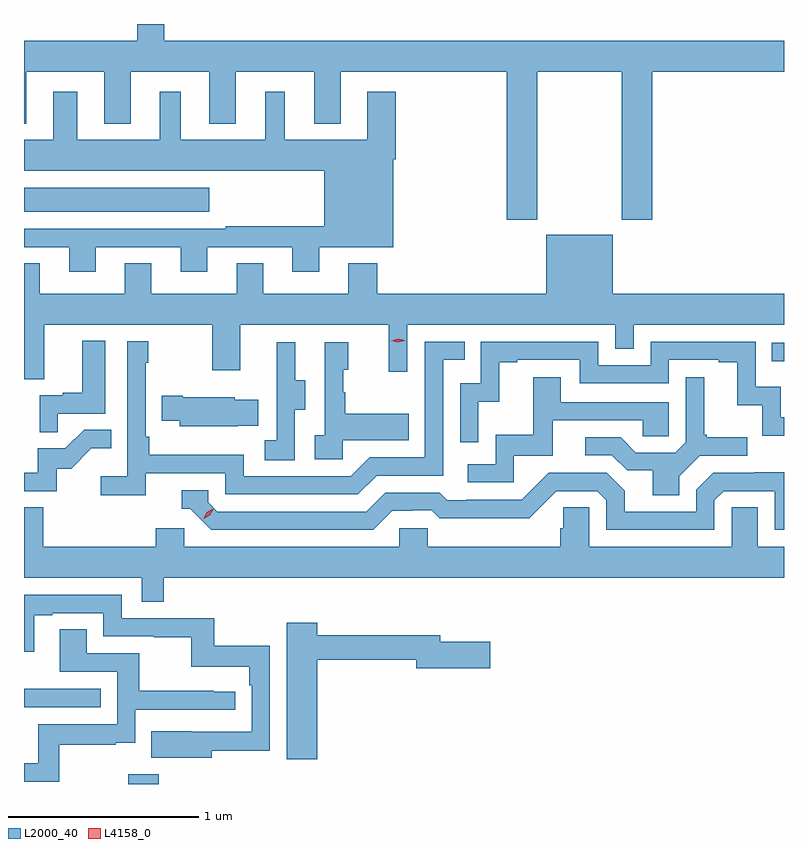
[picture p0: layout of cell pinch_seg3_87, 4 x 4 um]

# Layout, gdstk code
import gdstk
lib = gdstk.Library(unit=1e-6, precision=1e-09)
def R(c, l, rs):  # rectangles x0, y0, x1, y1
    for r in rs: c.add(gdstk.rectangle(r[:2], r[2:], *l))
def P(c, l, *ps):  # polygons
    for p in ps: c.add(gdstk.Polygon(p, *l))
L2000_40 = (2000, 40)
L4158_0 = (4158, 0)

pinch_seg3_87 = lib.new_cell('pinch_seg3_87')
R(pinch_seg3_87, L2000_40, [(1045.39,723.807,1045.55,723.859), (1044.842,724.212,1045.247,724.308), (1048.777,726.032,1048.842,726.129), (1044.842,726.818,1045.816,726.946)])
P(pinch_seg3_87, L2000_40, [(1045.579,727.807),(1045.439,727.807),(1045.439,727.72),(1044.842,727.72),(1044.842,727.283),(1044.853,727.283),(1044.853,727.556),(1045.265,727.556),(1045.265,727.283),(1045.405,727.283),(1045.405,727.556),(1045.817,727.556),(1045.817,727.283),(1045.957,727.283),(1045.957,727.556),(1046.369,727.556),(1046.369,727.283),(1046.509,727.283),(1046.509,727.556),(1047.383,727.556),(1047.383,726.777),(1047.543,726.777),(1047.543,727.556),(1047.988,727.556),(1047.988,726.777),(1048.148,726.777),(1048.148,727.556),(1048.842,727.556),(1048.842,727.72),(1045.579,727.72)],
  [(1045.219,726.633),(1045.667,726.633),(1045.667,726.504),(1045.807,726.504),(1045.807,726.633),(1046.255,726.633),(1046.255,726.504),(1046.395,726.504),(1046.395,726.632),(1046.785,726.632),(1046.785,727.094),(1046.798,727.094),(1046.798,727.45),(1046.648,727.45),(1046.648,727.198),(1046.215,727.198),(1046.215,727.45),(1046.111,727.45),(1046.111,727.198),(1045.666,727.198),(1045.666,727.45),(1045.556,727.45),(1045.556,727.198),(1045.123,727.198),(1045.123,727.45),(1044.995,727.45),(1044.995,727.198),(1044.842,727.198),(1044.842,727.034),(1046.423,727.034),(1046.423,726.742),(1045.903,726.742),(1045.903,726.729),(1044.842,726.729),(1044.842,726.633),(1045.079,726.633),(1045.079,726.504),(1045.219,726.504)],
  [(1044.949,726.224),(1045.834,726.224),(1045.834,725.985),(1045.981,725.985),(1045.981,726.224),(1046.762,726.224),(1046.762,725.976),(1046.859,725.976),(1046.859,726.224),(1047.954,726.224),(1047.954,726.097),(1048.05,726.097),(1048.05,726.224),(1048.842,726.224),(1048.842,726.388),(1047.94,726.388),(1047.94,726.697),(1047.59,726.697),(1047.59,726.388),(1046.702,726.388),(1046.702,726.547),(1046.549,726.547),(1046.549,726.388),(1046.101,726.388),(1046.101,726.548),(1045.961,726.548),(1045.961,726.388),(1045.513,726.388),(1045.513,726.548),(1045.373,726.548),(1045.373,726.388),(1044.925,726.388),(1044.925,726.548),(1044.842,726.548),(1044.842,725.938),(1044.949,725.938)],
  [(1045.019,725.757),(1045.27,725.757),(1045.27,726.139),(1045.148,726.139),(1045.148,725.866),(1045.045,725.866),(1045.045,725.853),(1044.924,725.853),(1044.924,725.659),(1045.019,725.659)],
  [(1045.484,725.442),(1045.902,725.442),(1045.902,725.331),(1046.599,725.331),(1046.698,725.43),(1047.048,725.43),(1047.048,726.039),(1047.161,726.039),(1047.161,726.135),(1046.952,726.135),(1046.952,725.526),(1046.661,725.526),(1046.562,725.427),(1045.998,725.427),(1045.998,725.539),(1045.502,725.539),(1045.502,725.635),(1045.482,725.635),(1045.482,726.023),(1045.495,726.023),(1045.495,726.136),(1045.386,726.136),(1045.386,725.428),(1045.245,725.428),(1045.245,725.326),(1045.484,725.326)],
  [(1047.234,725.819),(1047.344,725.819),(1047.344,726.027),(1047.439,726.027),(1047.439,726.039),(1047.768,726.039),(1047.768,725.916),(1048.236,725.916),(1048.236,726.039),(1048.499,726.039),(1048.499,726.027),(1048.595,726.027),(1048.595,725.801),(1048.728,725.801),(1048.728,725.64),(1048.842,725.64),(1048.842,725.736),(1048.824,725.736),(1048.824,725.899),(1048.692,725.899),(1048.692,726.135),(1048.14,726.135),(1048.14,726.012),(1047.864,726.012),(1047.864,726.135),(1047.246,726.135),(1047.246,725.916),(1047.138,725.916),(1047.138,725.607),(1047.234,725.607)],
  [(1046.52,725.615),(1046.867,725.615),(1046.867,725.755),(1046.533,725.755),(1046.533,725.87),(1046.523,725.87),(1046.523,725.988),(1046.548,725.988),(1046.548,726.133),(1046.424,726.133),(1046.424,725.642),(1046.373,725.642),(1046.373,725.517),(1046.52,725.517)],
  [(1046.268,725.776),(1046.323,725.776),(1046.323,725.931),(1046.269,725.931),(1046.269,726.133),(1046.171,726.133),(1046.171,725.919),(1046.172,725.919),(1046.172,725.615),(1046.109,725.615),(1046.109,725.512),(1046.268,725.512)],
  [(1048.291,725.428),(1048.398,725.535),(1048.648,725.535),(1048.648,725.632),(1048.435,725.632),(1048.435,725.644),(1048.423,725.644),(1048.423,725.947),(1048.326,725.947),(1048.326,725.607),(1048.269,725.55),(1048.063,725.55),(1047.982,725.631),(1047.795,725.631),(1047.795,725.538),(1047.936,725.538),(1048.016,725.458),(1048.151,725.458),(1048.151,725.326),(1048.291,725.326)],
  [(1047.42,725.535),(1047.625,725.535),(1047.625,725.721),(1048.099,725.721),(1048.099,725.637),(1048.236,725.637),(1048.236,725.817),(1047.667,725.817),(1047.667,725.947),(1047.523,725.947),(1047.523,725.644),(1047.324,725.644),(1047.324,725.49),(1047.177,725.49),(1047.177,725.394),(1047.42,725.394)],
  [(1045.967,725.693),(1046.075,725.693),(1046.075,725.83),(1045.95,725.83),(1045.95,725.842),(1045.678,725.842),(1045.678,725.85),(1045.567,725.85),(1045.567,725.72),(1045.661,725.72),(1045.661,725.69),(1045.967,725.69)],
  [(1045.014,725.466),(1045.09,725.466),(1045.197,725.573),(1045.301,725.573),(1045.301,725.672),(1045.158,725.672),(1045.06,725.574),(1044.915,725.574),(1044.915,725.445),(1044.842,725.445),(1044.842,725.349),(1045.014,725.349)],
  [(1046.779,725.244),(1046.886,725.244),(1046.886,725.247),(1046.989,725.247),(1047.031,725.205),(1047.264,725.205),(1047.264,725.207),(1047.5,725.207),(1047.642,725.349),(1047.858,725.349),(1047.906,725.301),(1047.906,725.145),(1048.476,725.145),(1048.476,725.301),(1048.524,725.349),(1048.794,725.349),(1048.794,725.145),(1048.842,725.145),(1048.842,725.447),(1048.686,725.447),(1048.686,725.445),(1048.47,725.445),(1048.38,725.355),(1048.38,725.241),(1048.003,725.241),(1048.003,725.351),(1047.909,725.445),(1047.603,725.445),(1047.462,725.304),(1047.169,725.304),(1047.169,725.301),(1047.07,725.301),(1047.031,725.34),(1046.742,725.34),(1046.643,725.241),(1045.86,725.241),(1045.812,725.289),(1045.812,725.352),(1045.673,725.352),(1045.673,725.256),(1045.716,725.256),(1045.827,725.145),(1046.68,725.145)],
  [(1045.577,724.892),(1048.842,724.892),(1048.842,725.056),(1048.705,725.056),(1048.705,725.264),(1048.566,725.264),(1048.566,725.056),(1047.816,725.056),(1047.816,725.264),(1047.679,725.264),(1047.679,725.154),(1047.665,725.154),(1047.665,725.056),(1046.967,725.056),(1046.967,725.154),(1046.817,725.154),(1046.817,725.056),(1045.686,725.056),(1045.686,725.154),(1045.535,725.154),(1045.535,725.056),(1044.944,725.056),(1044.944,725.264),(1044.842,725.264),(1044.842,724.892),(1045.461,724.892),(1045.461,724.765),(1045.577,724.765)],
  [(1045.831,723.982),(1046.136,723.982),(1046.136,724.534),(1045.843,724.534),(1045.843,724.68),(1045.356,724.68),(1045.356,724.803),(1044.842,724.803),(1044.842,724.502),(1044.895,724.502),(1044.895,724.695),(1044.991,724.695),(1044.991,724.707),(1045.26,724.707),(1045.26,724.584),(1045.525,724.584),(1045.525,724.579),(1045.722,724.579),(1045.722,724.424),(1046.027,724.424),(1046.027,724.328),(1046.04,724.328),(1046.04,724.083),(1045.727,724.083),(1045.727,724.084),(1045.513,724.084),(1045.513,723.944),(1045.831,723.944)],
  [(1046.386,724.462),(1046.906,724.462),(1046.906,724.415),(1047.295,724.415),(1047.295,724.557),(1047.034,724.557),(1047.034,724.591),(1046.386,724.591),(1046.386,724.657),(1046.225,724.657),(1046.225,723.936),(1046.386,723.936)],
  [(1045.027,724.014),(1045.325,724.014),(1045.325,724.025),(1045.428,724.025),(1045.428,724.197),(1045.954,724.197),(1045.954,724.293),(1045.841,724.293),(1045.841,724.298),(1045.448,724.298),(1045.448,724.494),(1045.171,724.494),(1045.171,724.622),(1045.031,724.622),(1045.031,724.398),(1045.332,724.398),(1045.332,724.122),(1044.916,724.122),(1044.916,723.916),(1044.842,723.916),(1044.842,723.819),(1045.027,723.819)])
P(pinch_seg3_87, L4158_0, [(1046.812,726.131),(1046.776,726.14),(1046.775,726.14),(1046.776,726.14),(1046.811,726.151),(1046.847,726.142),(1046.847,726.141),(1046.847,726.141)],
  [(1045.789,725.203),(1045.789,725.203),(1045.805,725.236),(1045.837,725.255),(1045.837,725.255),(1045.837,725.254),(1045.82,725.222),(1045.789,725.203)])

lib.write_gds('pinch_seg3_87.gds')
